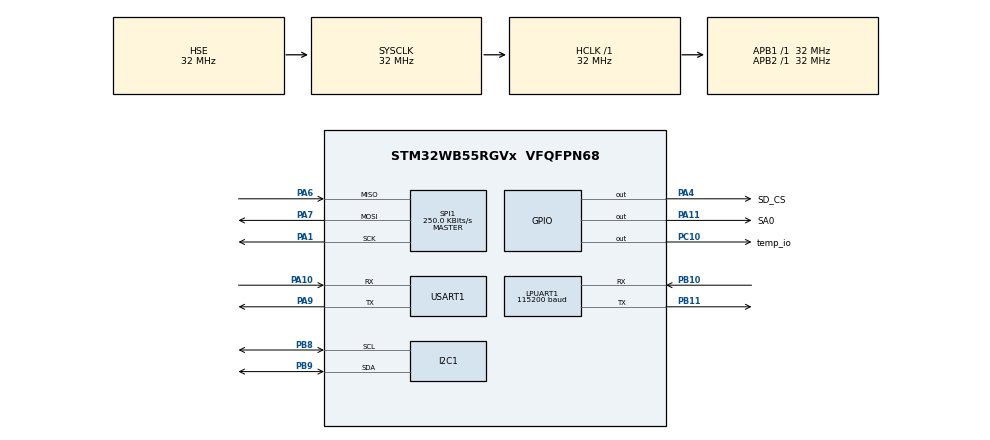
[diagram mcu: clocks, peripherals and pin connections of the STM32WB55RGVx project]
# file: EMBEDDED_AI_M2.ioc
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Dma.Request0=USART1_TX
Dma.USART1_TX.0.Direction=DMA_MEMORY_TO_PERIPH
Dma.USART1_TX.0.EventEnable=DISABLE
Dma.USART1_TX.0.Instance=DMA2_Channel4
Dma.USART1_TX.0.MemDataAlignment=DMA_MDATAALIGN_BYTE
Dma.USART1_TX.0.MemInc=DMA_MINC_ENABLE
Dma.USART1_TX.0.Mode=DMA_NORMAL
Dma.USART1_TX.0.PeriphDataAlignment=DMA_PDATAALIGN_BYTE
Dma.USART1_TX.0.PeriphInc=DMA_PINC_DISABLE
Dma.USART1_TX.0.Polarity=HAL_DMAMUX_REQ_GEN_RISING
Dma.USART1_TX.0.Priority=DMA_PRIORITY_LOW
Dma.USART1_TX.0.RequestNumber=1
Dma.USART1_TX.0.SignalID=NONE
Dma.USART1_TX.0.SyncEnable=DISABLE
Dma.USART1_TX.0.SyncPolarity=HAL_DMAMUX_SYNC_NO_EVENT
Dma.USART1_TX.0.SyncRequestNumber=1
Dma.USART1_TX.0.SyncSignalID=NONE
FATFS._FS_MINIMIZE=0
FATFS._USE_LFN=3
I2C1.Timing=0x00B07CB4
LPUART1.BaudRate=115200
Mcu.Family=STM32WB
Mcu.Name=STM32WB55RGVx
Mcu.Package=VFQFPN68
NVIC.DMA2_Channel4_IRQn=true\:0\:0\:false\:false\:true\:false\:true\:true
NVIC.HSEM_IRQn=true\:0\:0\:false\:false\:true\:false\:true\:true
NVIC.IPCC_C1_RX_IRQn=true\:0\:0\:false\:false\:true\:true\:true\:true
NVIC.IPCC_C1_TX_IRQn=true\:0\:0\:false\:false\:true\:true\:true\:true
NVIC.PriorityGroup=NVIC_PRIORITYGROUP_4
NVIC.RTC_WKUP_IRQn=true\:0\:0\:false\:false\:true\:true\:true\:true
OSC_IN.Mode=HSE-External-Oscillator
OSC_IN.Signal=RCC_OSC_IN
OSC_OUT.Mode=HSE-External-Oscillator
OSC_OUT.Signal=RCC_OSC_OUT
PA1.Mode=Full_Duplex_Master
PA1.Signal=SPI1_SCK
PA10.Mode=Asynchronous
PA10.Signal=USART1_RX
PA11.GPIO_Label=SA0
PA11.Signal=GPIO_Output
PA13.Mode=Serial_Wire
PA13.Signal=SYS_JTMS-SWDIO
PA14.Mode=Serial_Wire
PA14.Signal=SYS_JTCK-SWCLK
PA4.GPIO_Label=SD_CS
PA4.Signal=GPIO_Output
PA6.Mode=Full_Duplex_Master
PA6.Signal=SPI1_MISO
PA7.Mode=Full_Duplex_Master
PA7.Signal=SPI1_MOSI
PA9.Mode=Asynchronous
PA9.Signal=USART1_TX
PB10.Mode=Asynchronous
PB10.Signal=LPUART1_RX
PB11.Mode=Asynchronous
PB11.Signal=LPUART1_TX
PB8.GPIO_Pu=GPIO_NOPULL
PB8.GPIO_Speed=GPIO_SPEED_FREQ_VERY_HIGH
PB8.Mode=I2C
PB8.Signal=I2C1_SCL
PB9.GPIO_Pu=GPIO_NOPULL
PB9.GPIO_Speed=GPIO_SPEED_FREQ_VERY_HIGH
PB9.Mode=I2C
PB9.Signal=I2C1_SDA
PC10.GPIO_Label=temp_io
PC10.GPIO_ModeDefaultOutputPP=GPIO_MODE_OUTPUT_OD
PC10.GPIO_PuPd=GPIO_PULLUP
PC10.GPIO_Speed=GPIO_SPEED_FREQ_LOW
PC10.Signal=GPIO_Output
ProjectManager.HeapSize=0x200
ProjectManager.StackSize=0x400
ProjectManager.TargetToolchain=STM32CubeIDE
RCC.ADCFreq_Value=128000000
RCC.AHBFreq_Value=32000000
RCC.APB1Freq_Value=32000000
RCC.APB1TimFreq_Value=32000000
RCC.APB2Freq_Value=32000000
RCC.APB2TimFreq_Value=32000000
RCC.APB3Freq_Value=16000000
RCC.CortexFreq_Value=32000000
RCC.HCLKFreq_Value=32000000
RCC.HSE_VALUE=32000000
RCC.HSI48_VALUE=48000000
RCC.HSI_VALUE=16000000
RCC.I2C1CLockSelection=RCC_I2C1CLKSOURCE_SYSCLK
RCC.LSE_VALUE=32768
RCC.MSIClockRange=RCC_MSIRANGE_10
RCC.SYSCLKFreq_VALUE=32000000
RCC.SYSCLKSource=RCC_SYSCLKSOURCE_HSE
RCC.USBFreq_Value=128000000
RCC.VCOOutputFreq_Value=256000000
RF1.Mode=RF1_Activate
RF1.Signal=RF_RF1
SPI1.BaudRatePrescaler=SPI_BAUDRATEPRESCALER_128
SPI1.CalculateBaudRate=250.0 KBits/s
SPI1.DataSize=SPI_DATASIZE_8BIT
SPI1.Direction=SPI_DIRECTION_2LINES
SPI1.Mode=SPI_MODE_MASTER
SPI1.VirtualType=VM_MASTER
STM32_WPAN.AD_SERVICE_CLASS_UUID_1=FE ED
STM32_WPAN.AD_SERVICE_CLASS_UUID_1_INV=[ED, FE]
STM32_WPAN.AD_TYPE_COMPLETE_LOCAL_NAME=TOOLKIT
STM32_WPAN.AD_TYPE_COMPLETE_LOCAL_NAME_LENGTH=8
STM32_WPAN.CFG_DEBUG_APP_TRACE=1
STM32_WPAN.CFG_DEBUG_BLE_TRACE=1
STM32_WPAN.CFG_DEBUG_TRACE_FULL=1
STM32_WPAN.CFG_DEBUG_TRACE_UART=hw_uart1
STM32_WPAN.CFG_GAP_DEVICE_NAME=TPBLE
STM32_WPAN.CFG_GAP_DEVICE_NAME_LENGTH=5
STM32_WPAN.CFG_HW_RESET_BY_FW=1
STM32_WPAN.CFG_HW_USART1_ENABLED=1
STM32_WPAN.CFG_LSCLK_LSE=0
STM32_WPAN.CUSTOM_P2P_SERVER=Disabled
STM32_WPAN.CUSTOM_TEMPLATE=Enabled
STM32_WPAN.GAP_PERIPHERAL_ROLE=1
STM32_WPAN.INCLUDE_AD_TYPE_16_BIT_SERV_UUID_CMPLT_LIST=1
STM32_WPAN.INCLUDE_AD_TYPE_COMPLETE_LOCAL_NAME=1
STM32_WPAN.INCLUDE_AD_TYPE_MANUFACTURER_SPECIFIC_DATA=1
STM32_WPAN.INCLUDE_AD_TYPE_TX_POWER_LEVEL=1
STM32_WPAN.NUMBER_OF_SERVICES=5
STM32_WPAN.SERVICE1_CHAR1_GATT_NOTIFY_READ_REQ_AND_WAIT_FOR_APPL_RESP=\ 
STM32_WPAN.SERVICE1_CHAR1_GATT_NOTIFY_WRITE_REQ_AND_WAIT_FOR_APPL_RESP=\ 
STM32_WPAN.SERVICE1_CHAR1_LENGTH_CHARACTERISTIC=CHAR_VALUE_LEN_VARIABLE
STM32_WPAN.SERVICE1_CHAR1_LONG_NAME=delaicharac
STM32_WPAN.SERVICE1_CHAR1_PROP_READ=CHAR_PROP_READ
STM32_WPAN.SERVICE1_CHAR1_PROP_WRITE_WITHOUT_RESP=CHAR_PROP_WRITE_WITHOUT_RESP
STM32_WPAN.SERVICE1_CHAR1_SHORT_NAME=delai
STM32_WPAN.SERVICE1_CHAR1_UUID=AA AB
STM32_WPAN.SERVICE1_CHAR1_VALUE_LENGTH=1
STM32_WPAN.SERVICE1_CHAR2_GATT_NOTIFY_READ_REQ_AND_WAIT_FOR_APPL_RESP=\ 
STM32_WPAN.SERVICE1_CHAR2_GATT_NOTIFY_WRITE_REQ_AND_WAIT_FOR_APPL_RESP=\ 
STM32_WPAN.SERVICE1_CHAR2_LENGTH_CHARACTERISTIC=CHAR_VALUE_LEN_VARIABLE
STM32_WPAN.SERVICE1_CHAR2_LONG_NAME=acqcharac
STM32_WPAN.SERVICE1_CHAR2_PROP_READ=CHAR_PROP_READ
STM32_WPAN.SERVICE1_CHAR2_PROP_WRITE_WITHOUT_RESP=CHAR_PROP_WRITE_WITHOUT_RESP
STM32_WPAN.SERVICE1_CHAR2_SHORT_NAME=acq
STM32_WPAN.SERVICE1_CHAR2_UUID=AA AC
STM32_WPAN.SERVICE1_LONG_NAME=configdata
STM32_WPAN.SERVICE1_NUMBER_OF_CHARACTERISTICS=2
STM32_WPAN.SERVICE1_SHORT_NAME=config
STM32_WPAN.SERVICE1_UUID=AA AA
STM32_WPAN.SERVICE2_CHAR1_GATT_NOTIFY_NOTIFICATION_COMPLETION=GATT_NOTIFY_NOTIFICATION_COMPLETION
STM32_WPAN.SERVICE2_CHAR1_GATT_NOTIFY_READ_REQ_AND_WAIT_FOR_APPL_RESP=\ 
STM32_WPAN.SERVICE2_CHAR1_GATT_NOTIFY_WRITE_REQ_AND_WAIT_FOR_APPL_RESP=\ 
STM32_WPAN.SERVICE2_CHAR1_LENGTH_CHARACTERISTIC=CHAR_VALUE_LEN_VARIABLE
STM32_WPAN.SERVICE2_CHAR1_LONG_NAME=iacharac
STM32_WPAN.SERVICE2_CHAR1_PROP_NOTIFY=CHAR_PROP_NOTIFY
STM32_WPAN.SERVICE2_CHAR1_PROP_READ=CHAR_PROP_READ
STM32_WPAN.SERVICE2_CHAR1_SHORT_NAME=iac
STM32_WPAN.SERVICE2_CHAR1_UUID=BB BA
STM32_WPAN.SERVICE2_CHAR1_VALUE_LENGTH=2
STM32_WPAN.SERVICE2_LONG_NAME=iadata
STM32_WPAN.SERVICE2_SHORT_NAME=ia
STM32_WPAN.SERVICE2_UUID=BB BB
STM32_WPAN.SERVICE3_CHAR1_GATT_NOTIFY_NOTIFICATION_COMPLETION=\ 
STM32_WPAN.SERVICE3_CHAR1_GATT_NOTIFY_READ_REQ_AND_WAIT_FOR_APPL_RESP=\ 
STM32_WPAN.SERVICE3_CHAR1_GATT_NOTIFY_WRITE_REQ_AND_WAIT_FOR_APPL_RESP=\ 
STM32_WPAN.SERVICE3_CHAR1_LENGTH_CHARACTERISTIC=CHAR_VALUE_LEN_VARIABLE
STM32_WPAN.SERVICE3_CHAR1_LONG_NAME=accxcahrac
STM32_WPAN.SERVICE3_CHAR1_PROP_NOTIFY=CHAR_PROP_NOTIFY
STM32_WPAN.SERVICE3_CHAR1_PROP_READ=CHAR_PROP_READ
STM32_WPAN.SERVICE3_CHAR1_SHORT_NAME=accx
STM32_WPAN.SERVICE3_CHAR1_UUID=CC CA
STM32_WPAN.SERVICE3_CHAR1_VALUE_LENGTH=2
STM32_WPAN.SERVICE3_CHAR2_GATT_NOTIFY_NOTIFICATION_COMPLETION=GATT_NOTIFY_NOTIFICATION_COMPLETION
STM32_WPAN.SERVICE3_CHAR2_GATT_NOTIFY_READ_REQ_AND_WAIT_FOR_APPL_RESP=\ 
STM32_WPAN.SERVICE3_CHAR2_GATT_NOTIFY_WRITE_REQ_AND_WAIT_FOR_APPL_RESP=\ 
STM32_WPAN.SERVICE3_CHAR2_LENGTH_CHARACTERISTIC=CHAR_VALUE_LEN_VARIABLE
STM32_WPAN.SERVICE3_CHAR2_LONG_NAME=accycharac
STM32_WPAN.SERVICE3_CHAR2_PROP_NOTIFY=CHAR_PROP_NOTIFY
STM32_WPAN.SERVICE3_CHAR2_PROP_READ=CHAR_PROP_READ
STM32_WPAN.SERVICE3_CHAR2_SHORT_NAME=accy
STM32_WPAN.SERVICE3_CHAR2_UUID=CC CB
STM32_WPAN.SERVICE3_CHAR2_VALUE_LENGTH=2
STM32_WPAN.SERVICE3_CHAR3_GATT_NOTIFY_NOTIFICATION_COMPLETION=GATT_NOTIFY_NOTIFICATION_COMPLETION
STM32_WPAN.SERVICE3_CHAR3_GATT_NOTIFY_READ_REQ_AND_WAIT_FOR_APPL_RESP=\ 
STM32_WPAN.SERVICE3_CHAR3_GATT_NOTIFY_WRITE_REQ_AND_WAIT_FOR_APPL_RESP=\ 
STM32_WPAN.SERVICE3_CHAR3_LENGTH_CHARACTERISTIC=CHAR_VALUE_LEN_VARIABLE
STM32_WPAN.SERVICE3_CHAR3_LONG_NAME=acczcharac
STM32_WPAN.SERVICE3_CHAR3_PROP_NOTIFY=CHAR_PROP_NOTIFY
STM32_WPAN.SERVICE3_CHAR3_PROP_READ=CHAR_PROP_READ
STM32_WPAN.SERVICE3_CHAR3_SHORT_NAME=accz
STM32_WPAN.SERVICE3_CHAR3_UUID=CC CD
STM32_WPAN.SERVICE3_CHAR3_VALUE_LENGTH=2
STM32_WPAN.SERVICE3_LONG_NAME=accdata
STM32_WPAN.SERVICE3_NUMBER_OF_CHARACTERISTICS=3
STM32_WPAN.SERVICE3_SHORT_NAME=acc
STM32_WPAN.SERVICE3_UUID=CC CC
STM32_WPAN.SERVICE4_CHAR1_GATT_NOTIFY_NOTIFICATION_COMPLETION=GATT_NOTIFY_NOTIFICATION_COMPLETION
STM32_WPAN.SERVICE4_CHAR1_GATT_NOTIFY_READ_REQ_AND_WAIT_FOR_APPL_RESP=\ 
STM32_WPAN.SERVICE4_CHAR1_GATT_NOTIFY_WRITE_REQ_AND_WAIT_FOR_APPL_RESP=\ 
STM32_WPAN.SERVICE4_CHAR1_LENGTH_CHARACTERISTIC=CHAR_VALUE_LEN_VARIABLE
STM32_WPAN.SERVICE4_CHAR1_LONG_NAME=gyrxcharac
STM32_WPAN.SERVICE4_CHAR1_PROP_NOTIFY=CHAR_PROP_NOTIFY
STM32_WPAN.SERVICE4_CHAR1_PROP_READ=CHAR_PROP_READ
STM32_WPAN.SERVICE4_CHAR1_SHORT_NAME=gyrx
STM32_WPAN.SERVICE4_CHAR1_UUID=DD DA
STM32_WPAN.SERVICE4_CHAR1_VALUE_LENGTH=2
STM32_WPAN.SERVICE4_CHAR2_GATT_NOTIFY_NOTIFICATION_COMPLETION=GATT_NOTIFY_NOTIFICATION_COMPLETION
STM32_WPAN.SERVICE4_CHAR2_GATT_NOTIFY_READ_REQ_AND_WAIT_FOR_APPL_RESP=\ 
STM32_WPAN.SERVICE4_CHAR2_GATT_NOTIFY_WRITE_REQ_AND_WAIT_FOR_APPL_RESP=\ 
STM32_WPAN.SERVICE4_CHAR2_LENGTH_CHARACTERISTIC=CHAR_VALUE_LEN_VARIABLE
STM32_WPAN.SERVICE4_CHAR2_LONG_NAME=gyrycharac
STM32_WPAN.SERVICE4_CHAR2_PROP_NOTIFY=CHAR_PROP_NOTIFY
STM32_WPAN.SERVICE4_CHAR2_PROP_READ=CHAR_PROP_READ
STM32_WPAN.SERVICE4_CHAR2_SHORT_NAME=gyry
STM32_WPAN.SERVICE4_CHAR2_UUID=DD DB
STM32_WPAN.SERVICE4_CHAR2_VALUE_LENGTH=2
STM32_WPAN.SERVICE4_CHAR3_GATT_NOTIFY_NOTIFICATION_COMPLETION=GATT_NOTIFY_NOTIFICATION_COMPLETION
STM32_WPAN.SERVICE4_CHAR3_GATT_NOTIFY_READ_REQ_AND_WAIT_FOR_APPL_RESP=\ 
STM32_WPAN.SERVICE4_CHAR3_GATT_NOTIFY_WRITE_REQ_AND_WAIT_FOR_APPL_RESP=\ 
STM32_WPAN.SERVICE4_CHAR3_LENGTH_CHARACTERISTIC=CHAR_VALUE_LEN_VARIABLE
STM32_WPAN.SERVICE4_CHAR3_LONG_NAME=gyrzcharac
STM32_WPAN.SERVICE4_CHAR3_PROP_NOTIFY=CHAR_PROP_NOTIFY
STM32_WPAN.SERVICE4_CHAR3_PROP_READ=CHAR_PROP_READ
STM32_WPAN.SERVICE4_CHAR3_SHORT_NAME=gyrz
STM32_WPAN.SERVICE4_CHAR3_UUID=DD DC
STM32_WPAN.SERVICE4_CHAR3_VALUE_LENGTH=2
STM32_WPAN.SERVICE4_LONG_NAME=gyrdata
STM32_WPAN.SERVICE4_NUMBER_OF_CHARACTERISTICS=3
STM32_WPAN.SERVICE4_SHORT_NAME=gyr
STM32_WPAN.SERVICE4_UUID=DD DD
STM32_WPAN.SERVICE5_CHAR1_GATT_NOTIFY_NOTIFICATION_COMPLETION=GATT_NOTIFY_NOTIFICATION_COMPLETION
STM32_WPAN.SERVICE5_CHAR1_GATT_NOTIFY_READ_REQ_AND_WAIT_FOR_APPL_RESP=\ 
STM32_WPAN.SERVICE5_CHAR1_GATT_NOTIFY_WRITE_REQ_AND_WAIT_FOR_APPL_RESP=\ 
STM32_WPAN.SERVICE5_CHAR1_LENGTH_CHARACTERISTIC=CHAR_VALUE_LEN_VARIABLE
STM32_WPAN.SERVICE5_CHAR1_LONG_NAME=tempcharac
STM32_WPAN.SERVICE5_CHAR1_PROP_NOTIFY=CHAR_PROP_NOTIFY
STM32_WPAN.SERVICE5_CHAR1_PROP_READ=CHAR_PROP_READ
STM32_WPAN.SERVICE5_CHAR1_SHORT_NAME=tempc
STM32_WPAN.SERVICE5_CHAR1_UUID=EE EA
STM32_WPAN.SERVICE5_CHAR1_VALUE_LENGTH=2
STM32_WPAN.SERVICE5_LONG_NAME=tempdata
STM32_WPAN.SERVICE5_SHORT_NAME=temp
STM32_WPAN.SERVICE5_UUID=EE EE
TIM2.Period=\ 4294967295
TIM2.Prescaler=31
USART1.OverSampling=UART_OVERSAMPLING_8
USART1.VirtualMode-Asynchronous=VM_ASYNC
VP_FATFS_VS_Generic.Mode=User_defined
VP_HSEM_VS_HSEM.Mode=HSEM_Activate
VP_IPCC_VS_IPCC.Mode=IPCC_Activate
VP_MEMORYMAP_VS_MEMORYMAP.Mode=CurAppReg
VP_RTC_VS_RTC_Activate.Mode=RTC_Enabled
VP_RTC_VS_RTC_WakeUp_intern.Mode=WakeUp
VP_SEQUENCER_VS_SEQUENCER.Mode=SEQUENCER_Enabled
VP_STM32_WPAN_VS_BLE_HOST.Mode=STM32_WPAN_Enabled
VP_TIM2_VS_ClockSourceINT.Mode=Internal
VP_TINY_LPM_VS_TINY_LPM.Mode=TINY_LPM_Enabled
board=custom

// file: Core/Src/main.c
/* USER CODE BEGIN Header */
/**
 ******************************************************************************
 * @file           : main.c
 * @brief          : Main program body
 ******************************************************************************
 * @attention
 *
 * Copyright (c) 2024 STMicroelectronics.
 * All rights reserved.
 *
 * This software is licensed under terms that can be found in the LICENSE file
 * in the root directory of this software component.
 * If no LICENSE file comes with this software, it is provided AS-IS.
 *
 ******************************************************************************
 */
/* USER CODE END Header */
#include "main.h"
#include "app_fatfs.h"

/* USER CODE BEGIN Includes */
#include <stdio.h>
#include <stdlib.h>
#include <string.h>
#include <stdarg.h>
#include "Accelerometer.h"
#include "NanoEdgeAI.h"
#include "knowledge.h"
#include "temp.h"

/* USER CODE END Includes */

/* USER CODE BEGIN PD */

#define READ_DURATION 180000 // 3 minutes = 180000 ms (3 * 60 * 1000)

/* USER CODE END PD */

I2C_HandleTypeDef hi2c1;

IPCC_HandleTypeDef hipcc;

UART_HandleTypeDef hlpuart1;
UART_HandleTypeDef huart1;
DMA_HandleTypeDef hdma_usart1_tx;

RTC_HandleTypeDef hrtc;

SPI_HandleTypeDef hspi1;

TIM_HandleTypeDef htim2;

void SystemClock_Config(void);
void PeriphCommonClock_Config(void);
static void MX_GPIO_Init(void);
static void MX_DMA_Init(void);
static void MX_I2C1_Init(void);
static void MX_LPUART1_UART_Init(void);
static void MX_SPI1_Init(void);
static void MX_TIM2_Init(void);
static void MX_IPCC_Init(void);
static void MX_USART1_UART_Init(void);
static void MX_RTC_Init(void);
static void MX_RF_Init(void);
/* USER CODE BEGIN PFP */
int _write(int file, char *ptr, int len);
/* USER CODE END PFP */

/* USER CODE BEGIN 0 */
int _write(int file, char *ptr, int len) {
	int DataIdx;
	for (DataIdx = 0; DataIdx < len; DataIdx++) {
		//__io_putchar(*ptr++);
		ITM_SendChar(*ptr++);
	}
	return len;
}

float input_user_buffer[DATA_INPUT_USER * AXIS_NUMBER];

/* USER CODE END 0 */

int main(void)
{

  /* MCU Configuration--------------------------------------------------------*/

  /* Reset of all peripherals, Initializes the Flash interface and the Systick. */
  HAL_Init();
  /* Config code for STM32_WPAN (HSE Tuning must be done before system clock configuration) */
  MX_APPE_Config();

  /* Configure the system clock */
  SystemClock_Config();

  /* Configure the peripherals common clocks */
  PeriphCommonClock_Config();

  /* IPCC initialisation */
  MX_IPCC_Init();

  /* Initialize all configured peripherals */
  MX_GPIO_Init();
  MX_DMA_Init();
  MX_I2C1_Init();
  MX_LPUART1_UART_Init();
  MX_SPI1_Init();
  if (MX_FATFS_Init() != APP_OK) {
    Error_Handler();
  }
  MX_TIM2_Init();
  MX_USART1_UART_Init();
  MX_RTC_Init();
  MX_RF_Init();
  /* USER CODE BEGIN 2 */

//SET SA0 = "1"
	HAL_GPIO_WritePin(GPIOA, GPIO_PIN_11, GPIO_PIN_SET);

	HAL_StatusTypeDef status = HAL_I2C_IsDeviceReady(&hi2c1,
	ISM330DHCX_I2C_ADDRESS, 3, 100);

	if (status == HAL_OK) {
		// Device is ready
		printf("ISM330DHCX is ready for communication.\n");
	} else {
		// Device not ready or communication failed
		printf("ISM330DHCX is not ready. HAL_StatusTypeDef: %d\n", status);
	}

	InitializeISM330DHCX2();
	InitializeNanoEdgeAI();
	TMP1826_Init();

  /* USER CODE END 2 */

  /* Init code for STM32_WPAN */
  MX_APPE_Init();

  /* Infinite loop */
  /* USER CODE BEGIN WHILE */

//
//    HAL_I2C_Mem_Read(&hi2c1, LIS3DH_I2C_ADDRESS, 0x0F, I2C_MEMADD_SIZE_8BIT, &who_am_i, 1, 100);
//    HAL_Delay(500);
//    printf(" LIS3DH WHO_AM_I: 0x%02X\n", who_am_i); // should get  0x33
//
//    HAL_I2C_Mem_Read(&hi2c1, ISM330DHCX_I2C_ADDRESS, 0x0F, I2C_MEMADD_SIZE_8BIT, &who_am_i, 1, 100);
//    HAL_Delay(500);
//    printf("ISM330DHCX WHO_AM_I: 0x%02X\n", who_am_i); // should get  0x6B
	AccelerometerData accel;
	GyroscopeData gyro;

	while (1) {

    /* USER CODE END WHILE */
    MX_APPE_Process();

    /* USER CODE BEGIN 3 */

	ReadIMUData(&accel, &gyro);

	}
  /* USER CODE END 3 */
}

void SystemClock_Config(void)
{
  RCC_OscInitTypeDef RCC_OscInitStruct = {0};
  RCC_ClkInitTypeDef RCC_ClkInitStruct = {0};

  /** Configure the main internal regulator output voltage
  */
  __HAL_PWR_VOLTAGESCALING_CONFIG(PWR_REGULATOR_VOLTAGE_SCALE1);

  /** Initializes the RCC Oscillators according to the specified parameters
  * in the RCC_OscInitTypeDef structure.
  */
  RCC_OscInitStruct.OscillatorType = RCC_OSCILLATORTYPE_HSI|RCC_OSCILLATORTYPE_LSI1
                              |RCC_OSCILLATORTYPE_HSE;
  RCC_OscInitStruct.HSEState = RCC_HSE_ON;
  RCC_OscInitStruct.HSIState = RCC_HSI_ON;
  RCC_OscInitStruct.HSICalibrationValue = RCC_HSICALIBRATION_DEFAULT;
  RCC_OscInitStruct.LSIState = RCC_LSI_ON;
  RCC_OscInitStruct.PLL.PLLState = RCC_PLL_NONE;
  if (HAL_RCC_OscConfig(&RCC_OscInitStruct) != HAL_OK)
  {
    Error_Handler();
  }

  /** Configure the SYSCLKSource, HCLK, PCLK1 and PCLK2 clocks dividers
  */
  RCC_ClkInitStruct.ClockType = RCC_CLOCKTYPE_HCLK4|RCC_CLOCKTYPE_HCLK2
                              |RCC_CLOCKTYPE_HCLK|RCC_CLOCKTYPE_SYSCLK
                              |RCC_CLOCKTYPE_PCLK1|RCC_CLOCKTYPE_PCLK2;
  RCC_ClkInitStruct.SYSCLKSource = RCC_SYSCLKSOURCE_HSE;
  RCC_ClkInitStruct.AHBCLKDivider = RCC_SYSCLK_DIV1;
  RCC_ClkInitStruct.APB1CLKDivider = RCC_HCLK_DIV1;
  RCC_ClkInitStruct.APB2CLKDivider = RCC_HCLK_DIV1;
  RCC_ClkInitStruct.AHBCLK2Divider = RCC_SYSCLK_DIV1;
  RCC_ClkInitStruct.AHBCLK4Divider = RCC_SYSCLK_DIV1;

  if (HAL_RCC_ClockConfig(&RCC_ClkInitStruct, FLASH_LATENCY_1) != HAL_OK)
  {
    Error_Handler();
  }
}

void PeriphCommonClock_Config(void)
{
  RCC_PeriphCLKInitTypeDef PeriphClkInitStruct = {0};

  /** Initializes the peripherals clock
  */
  PeriphClkInitStruct.PeriphClockSelection = RCC_PERIPHCLK_SMPS|RCC_PERIPHCLK_RFWAKEUP;
  PeriphClkInitStruct.RFWakeUpClockSelection = RCC_RFWKPCLKSOURCE_HSE_DIV1024;
  PeriphClkInitStruct.SmpsClockSelection = RCC_SMPSCLKSOURCE_HSI;
  PeriphClkInitStruct.SmpsDivSelection = RCC_SMPSCLKDIV_RANGE1;

  if (HAL_RCCEx_PeriphCLKConfig(&PeriphClkInitStruct) != HAL_OK)
  {
    Error_Handler();
  }
}

static void MX_I2C1_Init(void)
{

  hi2c1.Instance = I2C1;
  hi2c1.Init.Timing = 0x00B07CB4;
  hi2c1.Init.OwnAddress1 = 0;
  hi2c1.Init.AddressingMode = I2C_ADDRESSINGMODE_7BIT;
  hi2c1.Init.DualAddressMode = I2C_DUALADDRESS_DISABLE;
  hi2c1.Init.OwnAddress2 = 0;
  hi2c1.Init.OwnAddress2Masks = I2C_OA2_NOMASK;
  hi2c1.Init.GeneralCallMode = I2C_GENERALCALL_DISABLE;
  hi2c1.Init.NoStretchMode = I2C_NOSTRETCH_DISABLE;
  if (HAL_I2C_Init(&hi2c1) != HAL_OK)
  {
    Error_Handler();
  }

  /** Configure Analogue filter
  */
  if (HAL_I2CEx_ConfigAnalogFilter(&hi2c1, I2C_ANALOGFILTER_ENABLE) != HAL_OK)
  {
    Error_Handler();
  }

  /** Configure Digital filter
  */
  if (HAL_I2CEx_ConfigDigitalFilter(&hi2c1, 0) != HAL_OK)
  {
    Error_Handler();
  }

}

static void MX_IPCC_Init(void)
{

  hipcc.Instance = IPCC;
  if (HAL_IPCC_Init(&hipcc) != HAL_OK)
  {
    Error_Handler();
  }

}

static void MX_LPUART1_UART_Init(void)
{

  hlpuart1.Instance = LPUART1;
  hlpuart1.Init.BaudRate = 115200;
  hlpuart1.Init.WordLength = UART_WORDLENGTH_8B;
  hlpuart1.Init.StopBits = UART_STOPBITS_1;
  hlpuart1.Init.Parity = UART_PARITY_NONE;
  hlpuart1.Init.Mode = UART_MODE_TX_RX;
  hlpuart1.Init.HwFlowCtl = UART_HWCONTROL_NONE;
  hlpuart1.Init.OneBitSampling = UART_ONE_BIT_SAMPLE_DISABLE;
  hlpuart1.Init.ClockPrescaler = UART_PRESCALER_DIV1;
  hlpuart1.AdvancedInit.AdvFeatureInit = UART_ADVFEATURE_NO_INIT;
  hlpuart1.FifoMode = UART_FIFOMODE_DISABLE;
  if (HAL_UART_Init(&hlpuart1) != HAL_OK)
  {
    Error_Handler();
  }
  if (HAL_UARTEx_SetTxFifoThreshold(&hlpuart1, UART_TXFIFO_THRESHOLD_1_8) != HAL_OK)
  {
    Error_Handler();
  }
  if (HAL_UARTEx_SetRxFifoThreshold(&hlpuart1, UART_RXFIFO_THRESHOLD_1_8) != HAL_OK)
  {
    Error_Handler();
  }
  if (HAL_UARTEx_DisableFifoMode(&hlpuart1) != HAL_OK)
  {
    Error_Handler();
  }

}

static void MX_USART1_UART_Init(void)
{

  huart1.Instance = USART1;
  huart1.Init.BaudRate = 115200;
  huart1.Init.WordLength = UART_WORDLENGTH_8B;
  huart1.Init.StopBits = UART_STOPBITS_1;
  huart1.Init.Parity = UART_PARITY_NONE;
  huart1.Init.Mode = UART_MODE_TX_RX;
  huart1.Init.HwFlowCtl = UART_HWCONTROL_NONE;
  huart1.Init.OverSampling = UART_OVERSAMPLING_8;
  huart1.Init.OneBitSampling = UART_ONE_BIT_SAMPLE_DISABLE;
  huart1.Init.ClockPrescaler = UART_PRESCALER_DIV1;
  huart1.AdvancedInit.AdvFeatureInit = UART_ADVFEATURE_NO_INIT;
  if (HAL_UART_Init(&huart1) != HAL_OK)
  {
    Error_Handler();
  }
  if (HAL_UARTEx_SetTxFifoThreshold(&huart1, UART_TXFIFO_THRESHOLD_1_8) != HAL_OK)
  {
    Error_Handler();
  }
  if (HAL_UARTEx_SetRxFifoThreshold(&huart1, UART_RXFIFO_THRESHOLD_1_8) != HAL_OK)
  {
    Error_Handler();
  }
  if (HAL_UARTEx_DisableFifoMode(&huart1) != HAL_OK)
  {
    Error_Handler();
  }

}

static void MX_RF_Init(void)
{

}

static void MX_RTC_Init(void)
{

  /** Initialize RTC Only
  */
  hrtc.Instance = RTC;
  hrtc.Init.HourFormat = RTC_HOURFORMAT_24;
  hrtc.Init.AsynchPrediv = CFG_RTC_ASYNCH_PRESCALER;
  hrtc.Init.SynchPrediv = CFG_RTC_SYNCH_PRESCALER;
  hrtc.Init.OutPut = RTC_OUTPUT_DISABLE;
  hrtc.Init.OutPutPolarity = RTC_OUTPUT_POLARITY_HIGH;
  hrtc.Init.OutPutType = RTC_OUTPUT_TYPE_OPENDRAIN;
  hrtc.Init.OutPutRemap = RTC_OUTPUT_REMAP_NONE;
  if (HAL_RTC_Init(&hrtc) != HAL_OK)
  {
    Error_Handler();
  }

  /** Enable the WakeUp
  */
  if (HAL_RTCEx_SetWakeUpTimer_IT(&hrtc, 0, RTC_WAKEUPCLOCK_RTCCLK_DIV16) != HAL_OK)
  {
    Error_Handler();
  }

}

static void MX_SPI1_Init(void)
{

  /* SPI1 parameter configuration*/
  hspi1.Instance = SPI1;
  hspi1.Init.Mode = SPI_MODE_MASTER;
  hspi1.Init.Direction = SPI_DIRECTION_2LINES;
  hspi1.Init.DataSize = SPI_DATASIZE_8BIT;
  hspi1.Init.CLKPolarity = SPI_POLARITY_LOW;
  hspi1.Init.CLKPhase = SPI_PHASE_1EDGE;
  hspi1.Init.NSS = SPI_NSS_SOFT;
  hspi1.Init.BaudRatePrescaler = SPI_BAUDRATEPRESCALER_128;
  hspi1.Init.FirstBit = SPI_FIRSTBIT_MSB;
  hspi1.Init.TIMode = SPI_TIMODE_DISABLE;
  hspi1.Init.CRCCalculation = SPI_CRCCALCULATION_DISABLE;
  hspi1.Init.CRCPolynomial = 7;
  hspi1.Init.CRCLength = SPI_CRC_LENGTH_DATASIZE;
  hspi1.Init.NSSPMode = SPI_NSS_PULSE_ENABLE;
  if (HAL_SPI_Init(&hspi1) != HAL_OK)
  {
    Error_Handler();
  }

}

static void MX_TIM2_Init(void)
{

  TIM_ClockConfigTypeDef sClockSourceConfig = {0};
  TIM_MasterConfigTypeDef sMasterConfig = {0};

  htim2.Instance = TIM2;
  htim2.Init.Prescaler = 31;
  htim2.Init.CounterMode = TIM_COUNTERMODE_UP;
  htim2.Init.Period = 4294967295;
  htim2.Init.ClockDivision = TIM_CLOCKDIVISION_DIV1;
  htim2.Init.AutoReloadPreload = TIM_AUTORELOAD_PRELOAD_DISABLE;
  if (HAL_TIM_Base_Init(&htim2) != HAL_OK)
  {
    Error_Handler();
  }
  sClockSourceConfig.ClockSource = TIM_CLOCKSOURCE_INTERNAL;
  if (HAL_TIM_ConfigClockSource(&htim2, &sClockSourceConfig) != HAL_OK)
  {
    Error_Handler();
  }
  sMasterConfig.MasterOutputTrigger = TIM_TRGO_RESET;
  sMasterConfig.MasterSlaveMode = TIM_MASTERSLAVEMODE_DISABLE;
  if (HAL_TIMEx_MasterConfigSynchronization(&htim2, &sMasterConfig) != HAL_OK)
  {
    Error_Handler();
  }

}

static void MX_DMA_Init(void)
{

  /* DMA controller clock enable */
  __HAL_RCC_DMAMUX1_CLK_ENABLE();
  __HAL_RCC_DMA2_CLK_ENABLE();

  /* DMA interrupt init */
  /* DMA2_Channel4_IRQn interrupt configuration */
  HAL_NVIC_SetPriority(DMA2_Channel4_IRQn, 0, 0);
  HAL_NVIC_EnableIRQ(DMA2_Channel4_IRQn);

}

static void MX_GPIO_Init(void)
{
  GPIO_InitTypeDef GPIO_InitStruct = {0};

  /* GPIO Ports Clock Enable */
  __HAL_RCC_GPIOB_CLK_ENABLE();
  __HAL_RCC_GPIOA_CLK_ENABLE();
  __HAL_RCC_GPIOC_CLK_ENABLE();

  /*Configure GPIO pin Output Level */
  HAL_GPIO_WritePin(GPIOA, SD_CS_Pin|SA0_Pin, GPIO_PIN_RESET);

  /*Configure GPIO pin Output Level */
  HAL_GPIO_WritePin(temp_io_GPIO_Port, temp_io_Pin, GPIO_PIN_RESET);

  /*Configure GPIO pins : SD_CS_Pin SA0_Pin */
  GPIO_InitStruct.Pin = SD_CS_Pin|SA0_Pin;
  GPIO_InitStruct.Mode = GPIO_MODE_OUTPUT_PP;
  GPIO_InitStruct.Pull = GPIO_NOPULL;
  GPIO_InitStruct.Speed = GPIO_SPEED_FREQ_LOW;
  HAL_GPIO_Init(GPIOA, &GPIO_InitStruct);

  /*Configure GPIO pin : temp_io_Pin */
  GPIO_InitStruct.Pin = temp_io_Pin;
  GPIO_InitStruct.Mode = GPIO_MODE_OUTPUT_OD;
  GPIO_InitStruct.Pull = GPIO_PULLUP;
  GPIO_InitStruct.Speed = GPIO_SPEED_FREQ_LOW;
  HAL_GPIO_Init(temp_io_GPIO_Port, &GPIO_InitStruct);

}

/* USER CODE BEGIN 4 */

void HAL_I2C_MasterTxCpltCallback(I2C_HandleTypeDef *hi2c) {
	if (hi2c->Instance == I2C1) {
		// Transmission complete
		printf("I2C Transmit Complete\n");
	}
}

void HAL_I2C_MasterRxCpltCallback(I2C_HandleTypeDef *hi2c) {
	if (hi2c->Instance == I2C1) {
		// Reception complete
		printf("I2C Receive Complete\n");
	}
}

/* USER CODE END 4 */

void Error_Handler(void)
{
	__disable_irq();
	while (1) {
	}
}
